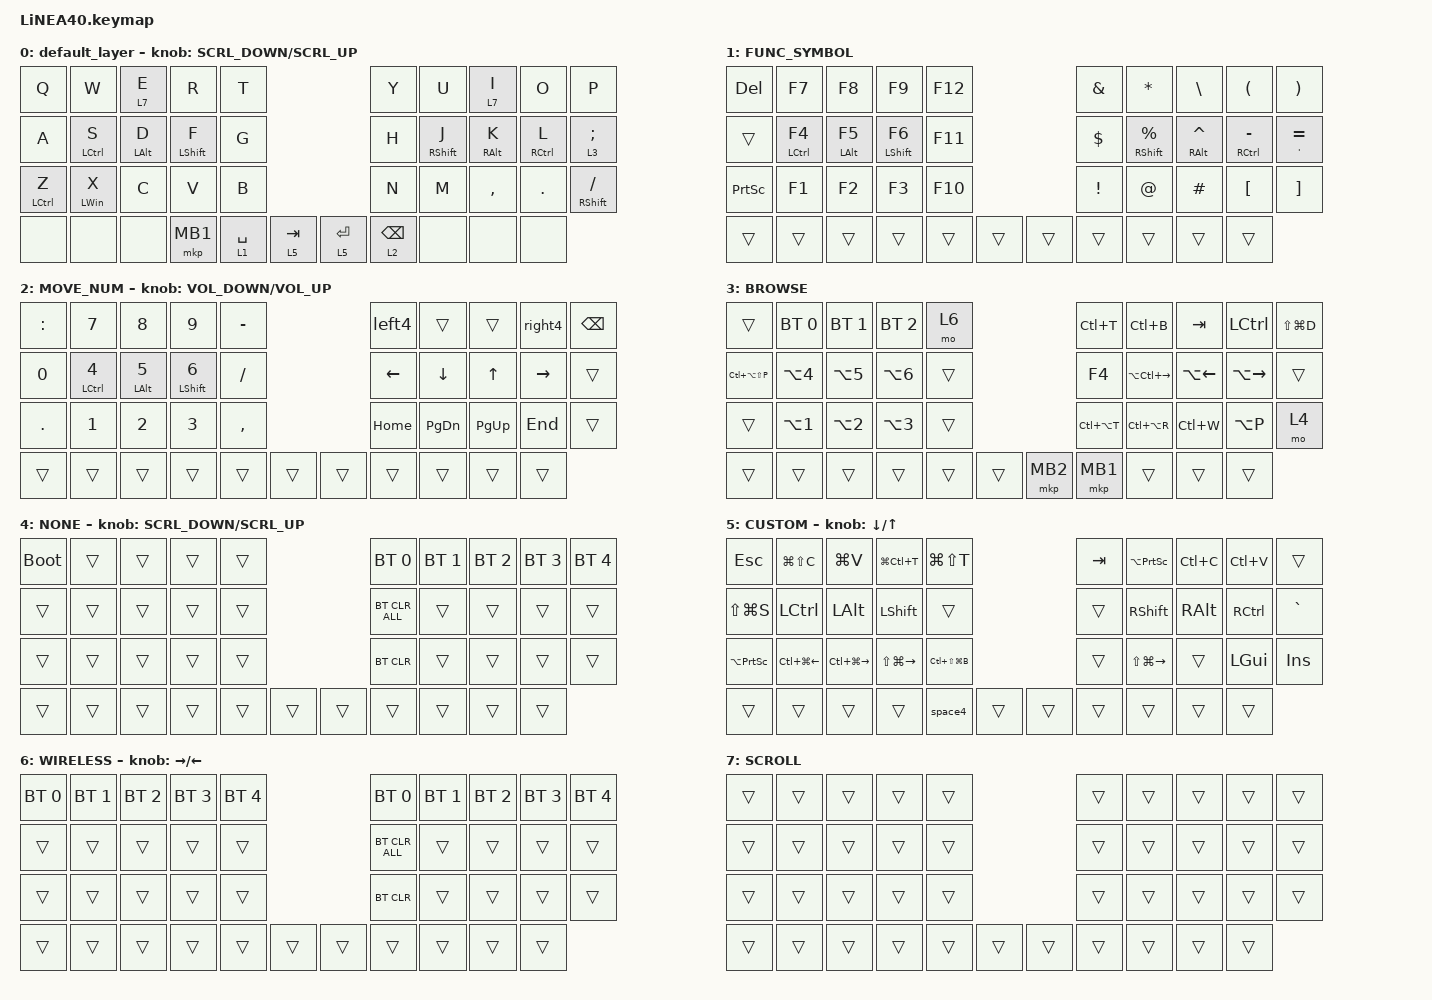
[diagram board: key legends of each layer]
#define ZMK_POINTING_DEFAULT_SCRL_VAL 150

#include <dt-bindings/zmk/input_transform.h>
#include <input/processors.dtsi>
#include <zephyr/dt-bindings/input/input-event-codes.h>
#include <behaviors.dtsi>
#include <dt-bindings/zmk/bt.h>
#include <dt-bindings/zmk/keys.h>
#include <dt-bindings/zmk/pointing.h>

#define MOUSE 1
#define MARK 2
#define CURSOR 3
#define FUNCTION 4
#define SCROLL 5
#define WIRELESS 6

//mouse cursol

&mmv {
    delay-ms = <20>;
    trigger-period-ms = <5>;
    time-to-max-speed-ms = <100>;
    acceleration-exponent = <2>;
};

//mouse scroll

&msc {
    delay-ms = <3>;
    trigger-period-ms = <3>;
    time-to-max-speed-ms = <100>;
    acceleration-exponent = <0>;
};

&lt {
    quick-tap-ms = <300>;
    flavor = "tap-preferred";
    tapping-term-ms = <150>;
};

&mt {
    quick-tap-ms = <300>;
    flavor = "balanced";
};

/ {
    input_processors {
        zip_wheel_scaler: zip_wheel_scaler {
            compatible = "zmk,input-processor-scaler";
            #input-processor-cells = <2>;
            type = <INPUT_EV_REL>;
            codes = <INPUT_REL_WHEEL>;
            track-remainders;
        };
    };
};

&msc_input_listener {
    speed_up {
        layers = <FUNCTION>;
        input-processors = <&zip_wheel_scaler 3 1>; //スクロールを3倍速にする
    };
};

&trackball_listener {
    scroller {
        layers = <SCROLL>;
        input-processors =
            <&zip_xy_transform INPUT_TRANSFORM_Y_INVERT>,
            //スクロール方向を逆転,,,,,,,
            <&zip_xy_to_scroll_mapper>;
    };
};

/ {
    combos {
        compatible = "zmk,combos";

        cmb_delete {
            bindings = <&kp DEL>;
            key-positions = <8 9>;
        };

        cmb_esc {
            bindings = <&kp ESCAPE>;
            key-positions = <1 0>;
        };

        cmb_minus {
            bindings = <&kp MINUS>;
            key-positions = <18 19>;
        };

        cmb_single {
            bindings = <&kp SINGLE_QUOTE>;
            key-positions = <29 28>;
        };

        cmb_eng {
            bindings = <&kp LANG2>;
            key-positions = <22 23>;
        };

        cmb_jp {
            bindings = <&kp LANG1>;
            key-positions = <26 27>;
        };

        cmb_mb2 {
            bindings = <&mkp MB2>;
            key-positions = <12 13>;
        };

        cmb_mb3 {
            bindings = <&mkp MB3>;
            key-positions = <20 21>;
        };
    };

    behaviors {
        re_kp: sensor_rotate_kp {
            compatible = "zmk,behavior-sensor-rotate-var";
            #sensor-binding-cells = <2>;
            bindings = <&kp>, <&kp>;
        };

        mouse_scrl: mouse_wheel_scrl {
            compatible = "zmk,behavior-sensor-rotate-var";
            #sensor-binding-cells = <2>;
            bindings = <&msc>, <&msc>;

            tap-ms = <20>;
        };
    };

    macros {
        space4: space4 {
            compatible = "zmk,behavior-macro";
            #binding-cells = <0>;
            bindings = <&kp SPACE &kp SPACE &kp SPACE &kp SPACE>;
            label = "SPACE4";
        };

        left4: left4 {
            compatible = "zmk,behavior-macro";
            #binding-cells = <0>;
            bindings = <&kp LEFT &kp LEFT &kp LEFT &kp LEFT>;
            label = "LEFT4";
        };

        right4: right4 {
            compatible = "zmk,behavior-macro";
            #binding-cells = <0>;
            bindings = <&kp RIGHT &kp RIGHT &kp RIGHT &kp RIGHT>;
            label = "RIGHT4";
        };
    };

    keymap {
        compatible = "zmk,keymap";

        default_layer {
            bindings = <
&kp Q        &kp W        &lt 7 E         &kp R         &kp T                                  &kp Y            &kp U         &lt 7 I          &kp O        &kp P
&kp A        &mt LCTRL S  &mt LEFT_ALT D  &mt LSHIFT F  &kp G                                  &kp H            &mt RSHIFT J  &mt RIGHT_ALT K  &mt RCTRL L  &lt 3 SEMI
&mt LCTRL Z  &mt LWIN X   &kp C           &kp V         &kp B                                  &kp N            &kp M         &kp COMMA        &kp DOT      &mt RIGHT_SHIFT SLASH
&none        &none        &none           &mkp MB1      &lt 1 SPACE  &lt 5 TAB    &lt 5 ENTER  &lt 2 BACKSPACE                &none            &none        &none
            >;

            sensor-bindings = <&mouse_scrl SCRL_DOWN SCRL_UP>;
        };

        //1

        FUNC_SYMBOL {
            bindings = <
&kp DELETE       &kp F7        &kp F8           &kp F9         &kp F12                    &kp AMPERSAND    &kp ASTERISK        &kp BACKSLASH        &kp LEFT_PARENTHESIS  &kp RIGHT_PARENTHESIS
&trans           &mt LCTRL F4  &mt LEFT_ALT F5  &mt LSHIFT F6  &kp F11                    &kp DOLLAR       &mt RSHIFT PERCENT  &mt RIGHT_ALT CARET  &mt RCTRL MINUS       &mt SINGLE_QUOTE EQUAL
&kp PRINTSCREEN  &kp F1        &kp F2           &kp F3         &kp F10                    &kp EXCLAMATION  &kp AT_SIGN         &kp HASH             &kp LBKT              &kp RBKT
&trans           &trans        &trans           &trans         &trans   &trans    &trans  &trans                               &trans               &trans                &trans
            >;
        };

        //2

        MOVE_NUM {
            bindings = <
&kp COLON  &kp N7              &kp N8           &kp N9               &kp MINUS                    &left4    &trans         &trans        &right4    &kp BACKSPACE
&kp N0     &mt LCTRL NUMBER_4  &mt LEFT_ALT N5  &mt LSHIFT NUMBER_6  &kp FSLH                     &kp LEFT  &kp DOWN       &kp UP_ARROW  &kp RIGHT  &trans
&kp DOT    &kp N1              &kp N2           &kp N3               &kp COMMA                    &kp HOME  &kp PAGE_DOWN  &kp PAGE_UP   &kp END    &trans
&trans     &trans              &trans           &trans               &trans     &trans    &trans  &trans                   &trans        &trans     &trans
            >;

            sensor-bindings = <&re_kp C_VOLUME_DOWN C_VOLUME_UP>;
        };

        //3

        BROWSE {
            bindings = <
&trans             &bt BT_SEL 0  &bt BT_SEL 1  &bt BT_SEL 2  &mo 6                       &kp LC(T)      &kp LC(B)          &kp TAB       &kp LCTRL      &kp LS(LG(D))
&kp LC(LA(LS(P)))  &kp LA(N4)    &kp LA(N5)    &kp LA(N6)    &trans                      &kp F4         &kp LA(LC(RIGHT))  &kp LA(LEFT)  &kp LA(RIGHT)  &trans
&trans             &kp LA(N1)    &kp LA(N2)    &kp LA(N3)    &trans                      &kp LC(LA(T))  &kp LC(LA(R))      &kp LC(W)     &kp LA(P)      &mo 4
&trans             &trans        &trans        &trans        &trans  &trans    &mkp MB2  &mkp MB1                          &trans        &trans         &trans
            >;
        };

        //4

        NONE {
            bindings = <
&bootloader  &trans  &trans  &trans  &trans                    &bt BT_SEL 0    &bt BT_SEL 1  &bt BT_SEL 2  &bt BT_SEL 3  &bt BT_SEL 4
&trans       &trans  &trans  &trans  &trans                    &bt BT_CLR_ALL  &trans        &trans        &trans        &trans
&trans       &trans  &trans  &trans  &trans                    &bt BT_CLR      &trans        &trans        &trans        &trans
&trans       &trans  &trans  &trans  &trans  &trans    &trans  &trans                        &trans        &trans        &trans
            >;

            sensor-bindings = <&mouse_scrl SCRL_DOWN SCRL_UP>;
        };

        //5

        CUSTOM {
            bindings = <
&kp ESCAPE           &kp LG(LS(C))     &kp LG(V)          &kp LG(LC(T))      &kp LG(LS(T))                        &kp TAB  &kp LA(PRINTSCREEN)  &kp LC(C)  &kp LC(V)  &trans
&kp LS(LG(S))        &kp LCTRL         &kp LALT           &kp LSHFT          &trans                               &trans   &kp RSHFT            &kp RALT   &kp RCTRL  &kp GRAVE
&kp LA(PRINTSCREEN)  &kp LC(LG(LEFT))  &kp LC(LG(RIGHT))  &kp LS(LG(RIGHT))  &kp LC(LS(LG(B)))                    &trans   &kp LS(LG(RIGHT))    &trans     &kp LGUI   &kp INSERT
&trans               &trans            &trans             &trans             &space4            &trans    &trans  &trans                        &trans     &trans     &trans
            >;

            sensor-bindings = <&inc_dec_kp DOWN_ARROW UP_ARROW>;
        };

        //6

        WIRELESS {
            bindings = <
&bt BT_SEL 0  &bt BT_SEL 1  &bt BT_SEL 2  &bt BT_SEL 3  &bt BT_SEL 4                    &bt BT_SEL 0    &bt BT_SEL 1  &bt BT_SEL 2  &bt BT_SEL 3  &bt BT_SEL 4
&trans        &trans        &trans        &trans        &trans                          &bt BT_CLR_ALL  &trans        &trans        &trans        &trans
&trans        &trans        &trans        &trans        &trans                          &bt BT_CLR      &trans        &trans        &trans        &trans
&trans        &trans        &trans        &trans        &trans        &trans    &trans  &trans                        &trans        &trans        &trans
            >;

            sensor-bindings = <&inc_dec_kp RIGHT_ARROW LEFT_ARROW>;
        };

        SCROLL {
            bindings = <
&trans  &trans  &trans  &trans  &trans                    &trans  &trans  &trans  &trans  &trans
&trans  &trans  &trans  &trans  &trans                    &trans  &trans  &trans  &trans  &trans
&trans  &trans  &trans  &trans  &trans                    &trans  &trans  &trans  &trans  &trans
&trans  &trans  &trans  &trans  &trans  &trans    &trans  &trans          &trans  &trans  &trans
            >;
        };
    };
};
